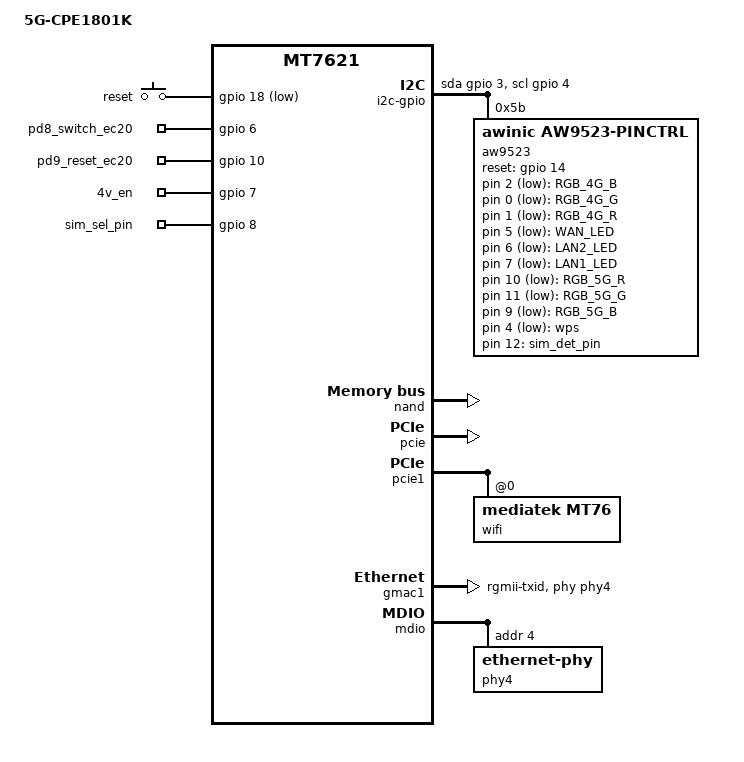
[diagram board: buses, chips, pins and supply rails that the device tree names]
/dts-v1/;

#include "mt7621.dtsi"

#include <dt-bindings/gpio/gpio.h>
#include <dt-bindings/input/input.h>

/ {
	compatible = "xwrt,5g-cpe1801k", "mediatek,mt7621-soc";
	model = "5G-CPE1801K";

	aliases {
		label-mac-device = &gmac0;
		led-boot = &boot_led;
		led-failsafe = &boot_led;
		led-running = &run_led;
		led-upgrade = &upgrade_led;
	};

	chosen {
		bootargs = "console=ttyS0,115200";
	};

	leds {
		compatible = "gpio-leds";
		pinctrl-names = "default";
		pinctrl-0 = <&led1_pins &led2_pins>;

		run_led: RGB4G_B {
			label = "RGB_4G_B";
			gpios = <&aw9523 2 GPIO_ACTIVE_LOW>;
		};

		upgrade_led: RGB4G_G {
			label = "RGB_4G_G";
			gpios = <&aw9523 0 GPIO_ACTIVE_LOW>;
		};

		boot_led: RGB4G_R {
			label = "RGB_4G_R";
			gpios = <&aw9523 1 GPIO_ACTIVE_LOW>;
		};

		WAN_LED {
			label = "WAN_LED";
			gpios = <&aw9523 5 GPIO_ACTIVE_LOW>;
		};

		LAN2_LED {
			label = "LAN2_LED";
			gpios = <&aw9523 6 GPIO_ACTIVE_LOW>;
		};

		LAN1_LED {
			label = "LAN1_LED";
			gpios = <&aw9523 7 GPIO_ACTIVE_LOW>;
		};

		RGB5G_R {
			label = "RGB_5G_R";
			gpios = <&aw9523 10 GPIO_ACTIVE_LOW>;
		};

		RGB5G_G {
			label = "RGB_5G_G";
			gpios = <&aw9523 11 GPIO_ACTIVE_LOW>;
		};

		RGB5G_B {
			label = "RGB_5G_B";
			gpios = <&aw9523 9 GPIO_ACTIVE_LOW>;
		};
	};

	keys {
		compatible = "gpio-keys-polled";
		poll-interval = <50>;
		pinctrl-names = "default";
		pinctrl-0 = <&button_pins>;

		reset {
			label = "reset";
			gpios = <&gpio 18 GPIO_ACTIVE_LOW>;
			linux,code = <KEY_RESTART>;
		};

		wps {
			label = "wps";
			gpios = <&aw9523 4 GPIO_ACTIVE_LOW>;
			linux,code = <KEY_WPS_BUTTON>;
		};
	};

	gpio_export {
		compatible = "gpio-export";
		#size-cells = <0>;

		pd8_switch_ec20 {
			gpio-export,name = "pd8_switch_ec20";
			gpio-export,output = <1>;
			gpios = <&gpio 6 GPIO_ACTIVE_HIGH>;
		};

		pd9_reset_ec20 {
			gpio-export,name = "pd9_reset_ec20";
			gpio-export,output = <1>;
			gpios = <&gpio 10 GPIO_ACTIVE_HIGH>;
		};

		4v_en {
			gpio-export,name = "4v_en";
			gpio-export,output = <1>;
			gpios = <&gpio 7 GPIO_ACTIVE_HIGH>;
		};

		sim_det_pin {
			gpio-export,name = "sim_det_pin";
			gpio-export,direction_may_change;
			gpios = <&aw9523 12 GPIO_ACTIVE_HIGH>;
		};

		sim_sel_pin {
			gpio-export,name = "sim_sel_pin";
			gpio-export,output = <1>;
			gpios = <&gpio 8 GPIO_ACTIVE_HIGH>;
		};
	};

	i2c-gpio {
		#address-cells = <1>;
		#size-cells = <0>;

		compatible = "i2c-gpio";
		gpios = <&gpio 3 GPIO_ACTIVE_HIGH &gpio 4 GPIO_ACTIVE_HIGH>;
		i2c-gpio,delay-us = <10>;

		aw9523: gpio-expander@5b {
			compatible = "awinic,aw9523-pinctrl";
			reg = <0x5b>;
			gpio-controller;
			#gpio-cells = <2>;
			gpio-ranges = <&aw9523 0 0 16>;

			reset-gpios = <&gpio 14 GPIO_ACTIVE_HIGH>;

			button_pins: button-pins {
				pins = "gpio4";
				function = "gpio";
				bias-pull-up;
				drive-open-drain;
				input-enable;
			};

			led1_pins: led1-pins {
				pins = "gpio0", "gpio1", "gpio2", "gpio9", "gpio10", "gpio11";
				function = "gpio";
				input-disable;
				output-low;
			};

			led2_pins: led2-pins {
				pins = "gpio5", "gpio6", "gpio7";
				function = "gpio";
				input-disable;
				output-high;
			};
		};
	};
};

&nand {
	status = "okay";

	partitions {
		compatible = "fixed-partitions";
		#address-cells = <1>;
		#size-cells = <1>;

		partition@0 {
			label = "Bootloader";
			reg = <0x0 0x80000>;
		};

		partition@80000 {
			label = "Config";
			reg = <0x80000 0x80000>;
		};

		factory: partition@100000 {
			label = "factory";
			reg = <0x100000 0x80000>;
			read-only;

			nvmem-layout {
				compatible = "fixed-layout";
				#address-cells = <1>;
				#size-cells = <1>;

				eeprom_factory_0: eeprom@0 {
					reg = <0x0 0xe00>;
				};

				macaddr_factory_4: macaddr@4 {
					compatible = "mac-base";
					reg = <0x4 0x6>;
					#nvmem-cell-cells = <1>;
				};
			};
		};

		partition@180000 {
			label = "kernel";
			reg = <0x180000 0x400000>;
		};

		partition@580000 {
			label = "ubi";
			reg = <0x580000 0x7180000>;
		};
	};
};

&pcie {
	status = "okay";
};

&pcie1 {
	wifi@0,0 {
		compatible = "mediatek,mt76";
		reg = <0x0000 0 0 0 0>;
		nvmem-cells = <&eeprom_factory_0>;
		nvmem-cell-names = "eeprom";
		mediatek,disable-radar-background;
	};
};

&ethernet {
	pinctrl-names = "default";
	pinctrl-0 = <&rgmii1_pins &rgmii2_pins &mdio_pins>;
};

&gmac0 {
	nvmem-cells = <&macaddr_factory_4 (-2)>;
	nvmem-cell-names = "mac-address";
};

&gmac1 {
	status = "okay";
	label = "wan";
	nvmem-cells = <&macaddr_factory_4 (-1)>;
	nvmem-cell-names = "mac-address";
	phy-mode = "rgmii-txid";
	phy-handle = <&phy4>;
};

&mdio {
	phy4: ethernet-phy@4 {
		reg = <4>;
	};
};

&switch0 {
	ports {
		port@0 {
			status = "okay";
			label = "wan4g";
		};

		port@2 {
			status = "okay";
			label = "lan1";
		};

		port@3 {
			status = "okay";
			label = "lan2";
		};
	};
};

&state_default {
	gpio {
		groups = "i2c", "jtag", "uart3";
		function = "gpio";
	};

	uart2 {
		groups = "uart2";
		function = "uart2";
	};
};
